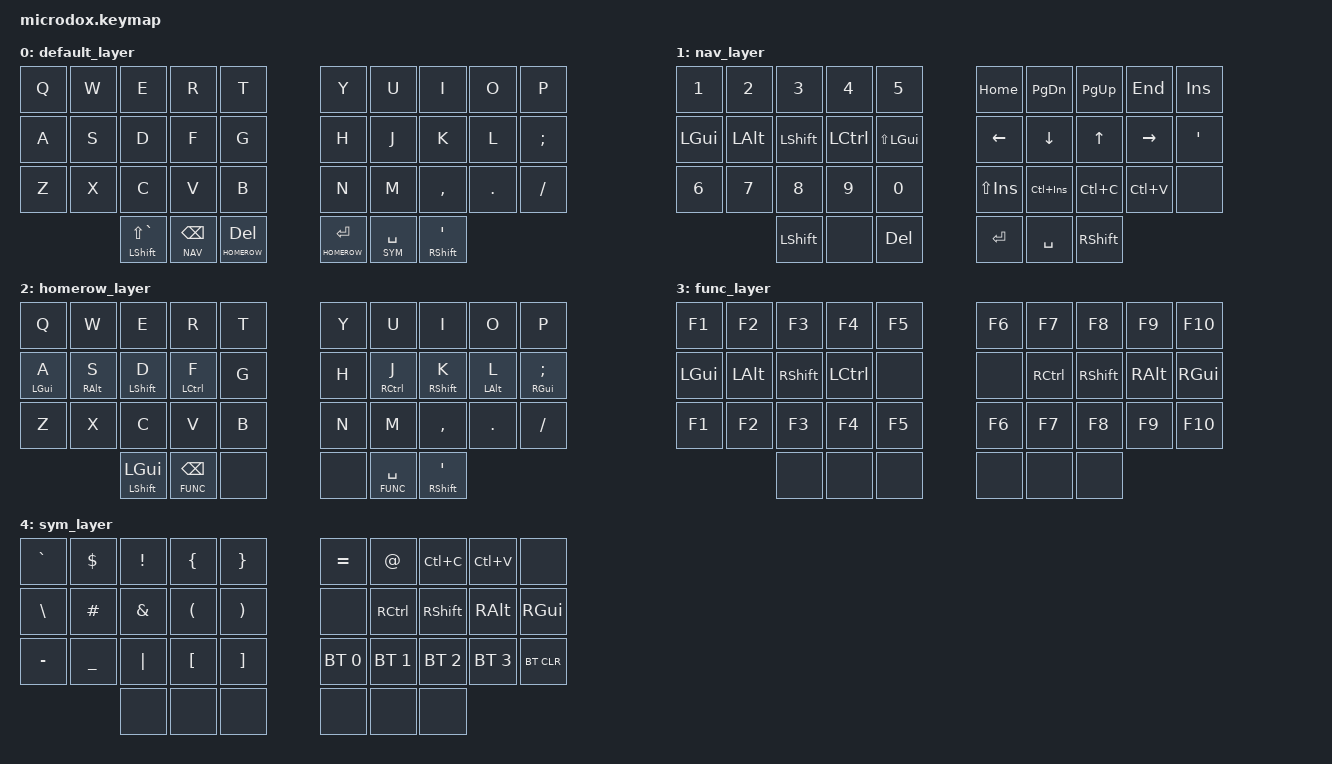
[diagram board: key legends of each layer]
// microdox
/*
 * Copyright (c) 2020 The ZMK Contributors
 *
 * SPDX-License-Identifier: MIT
 */

#include <behaviors.dtsi>
#include <dt-bindings/zmk/keys.h>
#include <dt-bindings/zmk/bt.h>

#define DEFAULT 0
#define NAV 1
#define HOMEROW 2
#define FUNC 3
#define SYM 4

#define COMBO(NAME, BINDINGS, KEYPOS) \
  combo_##NAME { \
    timeout-ms = <90>; \
    bindings = <BINDINGS>; \
    key-positions = <KEYPOS>; \
    layers = <0>; \
  };

  &lt {
                        tapping-term-ms = <220>;
                        quick-tap-ms = <190>;
                        global-quick-tap;
  };

/ {

        behaviors {
                hm: homerow_mods {
                        compatible = "zmk,behavior-hold-tap";
                        label = "HOMEROW_MODS";
                        #binding-cells = <2>;
                       tapping-term-ms = <250>;
                        quick-tap-ms = <190>;
                        global-quick-tap;
                        flavor = "tap-preferred";
                        bindings = <&kp>, <&kp>;
                };
        };

        combos {
                compatible = "zmk,combos";

                 COMBO(esckey, &kp ESC, 11 12)
                 COMBO(tabkey, &kp TAB, 12 13)
                 COMBO(ls, &kp LSHFT, 11 13)

                 COMBO(rs, &kp RSHFT, 16 18)
                 COMBO(bs, &kp BSPC, 16 17)
                 COMBO(sqt, &kp SQT, 16 19)
                 COMBO(colon, &kp LS(SEMI), 18 19)
                 COMBO(dsqt, &kp LS(SQT), 17 19)

                COMBO(one, &kp N1, 0 10)
                COMBO(two, &kp N2, 1 11)
                COMBO(three, &kp N3, 2 12)
                COMBO(four, &kp N4, 3 13)
                COMBO(five, &kp N5, 4 14)
                COMBO(six, &kp N6, 5 15)
                COMBO(seven, &kp N7, 6 16)
                COMBO(eight, &kp N8, 7 17)
                COMBO(nine, &kp N9, 8 18)
                COMBO(zero, &kp N0, 9 19)
        };

        keymap {
                compatible = "zmk,keymap";

                default_layer {
// -----------------------------------------------------------------------------------------
// |  Q  |  W  |  E  |  R  |  T  |   |  Y  |  U   |  I  |  O  |  P  |
// |  A  |  S  |  D  |  F  |  G  |   |  H  |  J   |  K  |  L  |  ;  |
// |  Z  |  X  |  C  |  V  |  B  |   |  N  |  M   |  ,  |  .  |  /  |
//             |  -  | BSP | DEL |   | ENT | SPC  | ALT |
                        bindings = <
   &kp Q          &kp W       &kp E        &kp R        &kp T       /**/    &kp Y   &kp U       &kp I       &kp O        &kp P
   &kp A      &kp S  &kp D  &kp F  &kp G       /**/    &kp H   &kp J   &kp  K &kp  L   &kp SEMI
   &kp Z          &kp X       &kp C        &kp V        &kp B       /**/    &kp N   &kp M       &kp COMMA   &kp DOT      &kp SLASH
                        &hm LSHFT  LS(GRAVE)   &lt NAV BSPC &lt HOMEROW DEL   /**/  &lt HOMEROW ENTER  &lt SYM SPACE  &hm RSHFT SQT
                        >;
                };

                nav_layer {
/*
*/
                        bindings = <
   &kp N1    &kp N2 &kp N3  &kp N4   &kp N5    /**/   &kp HOME   &kp PG_DN  &kp PG_UP  &kp END    &kp INS
   &kp LGUI   &kp LALT   &kp LSHFT   &kp LCTRL   &kp LS(LGUI)   /**/   &kp LEFT   &kp DOWN   &kp UP     &kp RIGHT  &kp SQT
   &kp N6     &kp N7    &kp N8    &kp N9    &kp N0    /**/   &kp LS(INS)  &kp LC(INS)    &kp LC(C)  &kp LC(V)  &none
                         &kp LSHFT   &none       &kp DEL    /**/   &kp ENTER  &kp SPACE  &kp RSHFT
                        >;
                };

                homerow_layer {
// -----------------------------------------------------------------------------------------
// |  Q  |  W  |  E  |  R  |  T  |   |  Y  |  U   |  I  |  O  |  P  |
// |  A  |  S  |  D  |  F  |  G  |   |  H  |  J   |  K  |  L  |  ;  |
// |  Z  |  X  |  C  |  V  |  B  |   |  N  |  M   |  ,  |  .  |  /  |
//             |  -  | BSP | DEL |   | ENT | SPC  | ALT |
                        bindings = <
   &kp Q          &kp W       &kp E        &kp R        &kp T       /**/    &kp Y   &kp U       &kp I       &kp O        &kp P
   &hm LGUI A  &hm RALT S  &hm LSHFT D  &hm LCTRL F  &kp G    /**/    &kp H   &hm RCTRL J   &hm RSHFT K   &hm LALT L   &hm RGUI SEMI
   &kp Z          &kp X       &kp C        &kp V        &kp B       /**/    &kp N   &kp M     &kp COMMA   &kp DOT      &kp SLASH
                        &hm LSHFT LGUI   &lt FUNC BSPC    &none   /**/  &none  &lt FUNC SPACE  &hm RSHFT SQT
                        >;
                };

         func_layer {
                /*
                        | F12 |  F7 |  F8 |  F9 |     |        |     |     |     |     |     |
                        | F11 |  F4 |  F5 |  F6 |     |        |     | WIN | ALT | SFT | CTL |
                        | F10 |  F1 |  F2 |  F3 |     |        |     |     |     |     |     |
                                    |     |     |     |        |     |     |     |
                */
                                        bindings = <
                   &kp F1    &kp F2    &kp F3     &kp F4     &kp F5  /**/   &kp F6      &kp F7      &kp F8      &kp F9      &kp F10
                   &kp LGUI  &kp LALT  &kp RSHIFT   &kp LCTRL  &none  /**/   &none     &kp RCTRL  &kp RSHFT  &kp RALT   &kp RGUI
                   &kp F1    &kp F2    &kp F3     &kp F4     &kp F5 /**/   &kp F6      &kp F7      &kp F8      &kp F9      &kp F10
                                        &none      &none      &none  /**/   &none      &none      &none
                                        >;
            };

            sym_layer {
/*
        |  `  |  $  |  !  |  {  |  }  |        |     |     |     |     |     |
        |  \  |  #  |  &  |  (  |  )  |        |     |     |     |     |     |
        |  -  |  _  |  |  |  [  |  ]  |        |     | CUT | CPY | PST |     |
                    |     |     |     |        |     |     |     |
*/
                        bindings = <
   &kp GRAVE  &kp DLLR  &kp EXCL   &kp LBRC   &kp RBRC   /**/   &kp EQUAL   &kp AT  &kp LC(C)      &kp LC(V)     &none
   &kp BSLH   &kp HASH  &kp AMPS   &kp LPAR   &kp RPAR   /**/  &none     &kp RCTRL  &kp RSHFT  &kp RALT   &kp RGUI
   &kp MINUS  &kp UNDER &kp PIPE   &kp LBKT   &kp RBKT   /**/   &bt BT_SEL 0  &bt BT_SEL 1  &bt BT_SEL 2   &bt BT_SEL 3  &bt BT_CLR
                        &none      &none      &none      /**/   &none         &none         &none
                        >;
        };
    };
};
